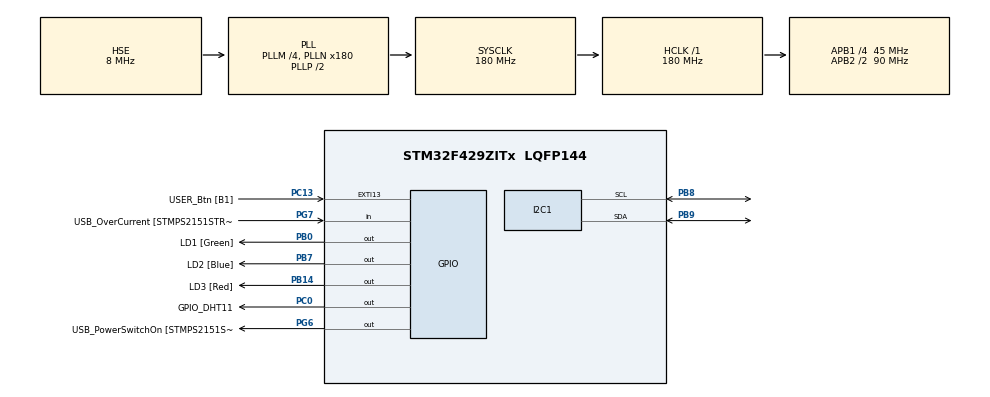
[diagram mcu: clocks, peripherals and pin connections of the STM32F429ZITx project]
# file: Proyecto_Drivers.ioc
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Mcu.Family=STM32F4
Mcu.Name=STM32F429ZITx
Mcu.Package=LQFP144
NVIC.PriorityGroup=NVIC_PRIORITYGROUP_4
PA1.GPIO_Label=RMII_REF_CLK [LAN8742A-CZ-TR_REFCLK0]
PA1.Signal=ETH_REF_CLK
PA10.GPIO_Label=USB_ID
PA10.Signal=USB_OTG_FS_ID
PA11.GPIO_Label=USB_DM
PA11.Signal=USB_OTG_FS_DM
PA12.GPIO_Label=USB_DP
PA12.Signal=USB_OTG_FS_DP
PA13.GPIO_Label=TMS
PA13.Mode=Serial_Wire
PA13.Signal=SYS_JTMS-SWDIO
PA14.GPIO_Label=TCK
PA14.Mode=Serial_Wire
PA14.Signal=SYS_JTCK-SWCLK
PA2.GPIO_Label=RMII_MDIO [LAN8742A-CZ-TR_MDIO]
PA2.Signal=ETH_MDIO
PA7.GPIO_Label=RMII_CRS_DV [LAN8742A-CZ-TR_CRS_DV]
PA7.Signal=ETH_CRS_DV
PA8.GPIO_Label=USB_SOF [TP1]
PA8.Signal=USB_OTG_FS_SOF
PA9.GPIO_Label=USB_VBUS
PA9.Signal=USB_OTG_FS_VBUS
PB0.GPIO_Label=LD1 [Green]
PB0.Signal=GPIO_Output
PB13.GPIO_Label=RMII_TXD1 [LAN8742A-CZ-TR_TXD1]
PB13.Signal=ETH_TXD1
PB14.GPIO_Label=LD3 [Red]
PB14.Signal=GPIO_Output
PB7.GPIO_Label=LD2 [Blue]
PB7.Signal=GPIO_Output
PB8.Mode=I2C
PB8.Signal=I2C1_SCL
PB9.Mode=I2C
PB9.Signal=I2C1_SDA
PC0.GPIO_Label=GPIO_DHT11
PC0.Signal=GPIO_Output
PC1.GPIO_Label=RMII_MDC [LAN8742A-CZ-TR_MDC]
PC1.Signal=ETH_MDC
PC13.GPIO_Label=USER_Btn [B1]
PC13.Signal=GPXTI13
PC14/OSC32_IN.Signal=RCC_OSC32_IN
PC15/OSC32_OUT.Signal=RCC_OSC32_OUT
PC4.GPIO_Label=RMII_RXD0 [LAN8742A-CZ-TR_RXD0]
PC4.Signal=ETH_RXD0
PC5.GPIO_Label=RMII_RXD1 [LAN8742A-CZ-TR_RXD1]
PC5.Signal=ETH_RXD1
PD8.GPIO_Label=STLK_RX [STM32F103CBT6_PA3]
PD8.Signal=USART3_TX
PD9.GPIO_Label=STLK_TX [STM32F103CBT6_PA2]
PD9.Signal=USART3_RX
PG11.GPIO_Label=RMII_TX_EN [LAN8742A-CZ-TR_TXEN]
PG11.Signal=ETH_TX_EN
PG13.GPIO_Label=RMII_TXD0 [LAN8742A-CZ-TR_TXD0]
PG13.Signal=ETH_TXD0
PG6.GPIO_Label=USB_PowerSwitchOn [STMPS2151STR_EN]
PG6.Signal=GPIO_Output
PG7.GPIO_Label=USB_OverCurrent [STMPS2151STR_FAULT]
PG7.Signal=GPIO_Input
PH0/OSC_IN.GPIO_Label=MCO [STM32F103CBT6_PA8]
PH0/OSC_IN.Mode=HSE-External-Oscillator
PH0/OSC_IN.Signal=RCC_OSC_IN
PH1/OSC_OUT.Mode=HSE-External-Oscillator
PH1/OSC_OUT.Signal=RCC_OSC_OUT
ProjectManager.HeapSize=0x200
ProjectManager.StackSize=0x400
ProjectManager.TargetToolchain=STM32CubeIDE
RCC.48MHZClocksFreq_Value=90000000
RCC.AHBFreq_Value=180000000
RCC.APB1CLKDivider=RCC_HCLK_DIV4
RCC.APB1Freq_Value=45000000
RCC.APB1TimFreq_Value=90000000
RCC.APB2CLKDivider=RCC_HCLK_DIV2
RCC.APB2Freq_Value=90000000
RCC.APB2TimFreq_Value=180000000
RCC.CortexFreq_Value=180000000
RCC.HCLKFreq_Value=180000000
RCC.HSE_VALUE=8000000
RCC.HSI_VALUE=16000000
RCC.LSE_VALUE=32768
RCC.PLLM=4
RCC.PLLMUL=RCC_PLL_MUL9
RCC.PLLN=180
RCC.PLLSourceVirtual=RCC_PLLSOURCE_HSE
RCC.PRESCALERUSB=RCC_USBCLKSOURCE_PLL_DIV1_5
RCC.SYSCLKFreq_VALUE=180000000
RCC.SYSCLKSource=RCC_SYSCLKSOURCE_PLLCLK
RCC.SYSCLKSourceVirtual=RCC_SYSCLKSOURCE_PLLCLK
RCC.USBFreq_Value=48000000
RCC.VCOOutputFreq_Value=360000000
TIM6.Period=0xffff-1
TIM6.Prescaler=50-1
VP_TIM6_VS_ClockSourceINT.Mode=Enable_Timer
board=NUCLEO-F429ZI

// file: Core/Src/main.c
/* USER CODE BEGIN Header */
/**
  ******************************************************************************
  * @file           : main.c
  * @brief          : Main program body
  ******************************************************************************
  * @attention
  *
  * Copyright (c) 2023 STMicroelectronics.
  * All rights reserved.
  *
  * This software is licensed under terms that can be found in the LICENSE file
  * in the root directory of this software component.
  * If no LICENSE file comes with this software, it is provided AS-IS.
  *
  ******************************************************************************
  */
/* USER CODE END Header */
#include "main.h"
#include "i2c.h"
#include "tim.h"
#include "gpio.h"

/* USER CODE BEGIN Includes */

#include "lib_lcd_16x02_i2c.h"
#include "lib_dht11.h"
#include "stdio.h"

/* USER CODE END Includes */

/* USER CODE BEGIN PTD */

void delay (uint16_t time)
{
	/* change your code here for the delay in microseconds */
	__HAL_TIM_SET_COUNTER(&htim6, 0);
	while ((__HAL_TIM_GET_COUNTER(&htim6))<time);
}

void Display_Temp (float Temp)
{
	char str[20] = {0};
	lcd_16x02_gotoxy(1, 1);

	sprintf (str, "TEMP:- %.2f ", Temp);
	lcd_16x02_send_string(str);
	lcd_16x02_send_data('C');
}

void Display_Rh (float Rh)
{
	char str[20] = {0};
	lcd_16x02_gotoxy(1, 0);

	sprintf (str, "HUM:- %.2f ", Rh);
	lcd_16x02_send_string(str);
	lcd_16x02_send_data('%');
}

uint8_t rh_byte1, rh_byte2, temp_byte1, temp_byte2;
uint16_t SUM, RH, TEMP;

float temperatura = 0;
float humedad = 0;
uint8_t presencia = 0;

/* USER CODE END PTD */

void SystemClock_Config(void);

/* USER CODE BEGIN 0 */
int row=1;
int col=1;
/* USER CODE END 0 */

int main(void)
{

  /* MCU Configuration--------------------------------------------------------*/

  /* Reset of all peripherals, Initializes the Flash interface and the Systick. */
  HAL_Init();

  /* Configure the system clock */
  SystemClock_Config();

  /* Initialize all configured peripherals */
  MX_GPIO_Init();
  MX_I2C1_Init();
  MX_TIM6_Init();
  /* USER CODE BEGIN 2 */

  HAL_TIM_Base_Start(&htim6);

  lcd_16x02_init ();
  dht11_init(GPIOA, GPIO_PIN_0);
  HAL_Delay(3000);

  /* USER CODE END 2 */

  /* Infinite loop */
  while (1)
  {
    presencia = dht11_check_response();
    rh_byte1 = dht11_read_data ();
    rh_byte2 = dht11_read_data ();
    temp_byte1 = dht11_read_data ();
    temp_byte2 = dht11_read_data ();
    SUM = dht11_read_data();

    TEMP = temp_byte1;
    RH = rh_byte1;

    temperatura = (float) TEMP;
    humedad = (float) RH;

    HAL_Delay(3000);

  }
}

void SystemClock_Config(void)
{
  RCC_OscInitTypeDef RCC_OscInitStruct = {0};
  RCC_ClkInitTypeDef RCC_ClkInitStruct = {0};

  /** Configure the main internal regulator output voltage
  */
  __HAL_RCC_PWR_CLK_ENABLE();
  __HAL_PWR_VOLTAGESCALING_CONFIG(PWR_REGULATOR_VOLTAGE_SCALE1);

  /** Initializes the RCC Oscillators according to the specified parameters
  * in the RCC_OscInitTypeDef structure.
  */
  RCC_OscInitStruct.OscillatorType = RCC_OSCILLATORTYPE_HSE;
  RCC_OscInitStruct.HSEState = RCC_HSE_ON;
  RCC_OscInitStruct.PLL.PLLState = RCC_PLL_ON;
  RCC_OscInitStruct.PLL.PLLSource = RCC_PLLSOURCE_HSE;
  RCC_OscInitStruct.PLL.PLLM = 4;
  RCC_OscInitStruct.PLL.PLLN = 180;
  RCC_OscInitStruct.PLL.PLLP = RCC_PLLP_DIV2;
  RCC_OscInitStruct.PLL.PLLQ = 4;
  if (HAL_RCC_OscConfig(&RCC_OscInitStruct) != HAL_OK)
  {
    Error_Handler();
  }

  /** Activate the Over-Drive mode
  */
  if (HAL_PWREx_EnableOverDrive() != HAL_OK)
  {
    Error_Handler();
  }

  /** Initializes the CPU, AHB and APB buses clocks
  */
  RCC_ClkInitStruct.ClockType = RCC_CLOCKTYPE_HCLK|RCC_CLOCKTYPE_SYSCLK
                              |RCC_CLOCKTYPE_PCLK1|RCC_CLOCKTYPE_PCLK2;
  RCC_ClkInitStruct.SYSCLKSource = RCC_SYSCLKSOURCE_PLLCLK;
  RCC_ClkInitStruct.AHBCLKDivider = RCC_SYSCLK_DIV1;
  RCC_ClkInitStruct.APB1CLKDivider = RCC_HCLK_DIV4;
  RCC_ClkInitStruct.APB2CLKDivider = RCC_HCLK_DIV2;

  if (HAL_RCC_ClockConfig(&RCC_ClkInitStruct, FLASH_LATENCY_5) != HAL_OK)
  {
    Error_Handler();
  }
}

void Error_Handler(void)
{
  __disable_irq();
  while (1)
  {
  }
}
